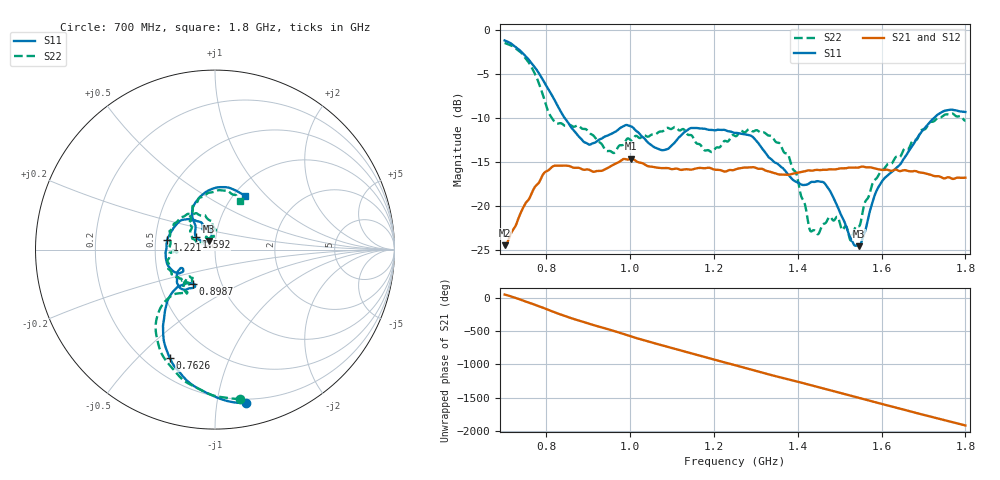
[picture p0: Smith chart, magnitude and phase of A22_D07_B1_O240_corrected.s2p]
! Created with skrf 1.9.0 (http://scikit-rf.org).
# Hz S RI R 50.0
!freq ReS11 ImS11 ReS21 ImS21 ReS12 ImS12 ReS22 ImS22
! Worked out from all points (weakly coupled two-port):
!   1601 points, 700 MHz to 1.8 GHz, reference 50 ohm
!   highest |S21| = -14.60 dB at 1.002 GHz (marker M1); lowest = -24.4 dB at 700.7 MHz (marker M2)
!   lowest |S11| = -24.5 dB at 1.546 GHz (marker M3), VSWR 1.13, Z = 46.5 + j4.55 ohm
!   |S11| at or under -10 dB: 843.7 MHz to 1.724 GHz (880.7 MHz wide, 68.6 % of centre)
!   |S22| runs from -23.9 to -1.5 dB; largest |S21 - S12| = 0.0035
!   S11 on the Smith chart (normalised r, x): 700 MHz: 0.17, -1.21; 762.6 MHz: 0.29, -0.63; 898.7 MHz: 0.73, -0.29; 1.221 GHz: 0.58, +0.06; 1.592 GHz: 0.80, +0.12; 1.8 GHz: 1.12, +0.76
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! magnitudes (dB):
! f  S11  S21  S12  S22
! 700 MHz  -1.2  -24.4  -24.2  -1.5
! 700.7 MHz  -1.2  -24.4  -24.1  -1.5
! 762.6 MHz  -3.7  -18.8  -18.7  -4.1
! 817.6 MHz  -7.8  -15.4  -15.5  -10.3
! 883.6 MHz  -12.4  -15.8  -15.7  -11.2
! 898.7 MHz  -12.9  -15.8  -15.9  -11.5
! 958.5 MHz  -11.7  -15.3  -15.3  -13.9
! 1.002 GHz  -10.9  -14.6  -14.7  -12.5
! 1.067 GHz  -13.5  -15.6  -15.6  -11.6
! 1.144 GHz  -11.1  -15.8  -15.8  -11.9
! 1.221 GHz  -11.3  -16.0  -16.0  -12.8
! 1.25 GHz  -11.7  -15.8  -15.8  -12.0
! 1.357 GHz  -15.4  -16.4  -16.3  -12.9
! 1.396 GHz  -17.2  -16.2  -16.2  -16.2
! 1.434 GHz  -17.2  -16.0  -15.9  -22.8
! 1.468 GHz  -17.6  -15.9  -15.8  -21.8
! 1.526 GHz  -23.6  -15.6  -15.6  -23.9
! 1.546 GHz  -24.5  -15.6  -15.6  -22.3
! 1.592 GHz  -17.8  -15.8  -15.8  -16.5
! 1.617 GHz  -16.4  -15.9  -15.9  -15.2
! 1.732 GHz  -9.7  -16.6  -16.6  -10.0
! 1.8 GHz  -9.3  -16.8  -16.7  -10.3
